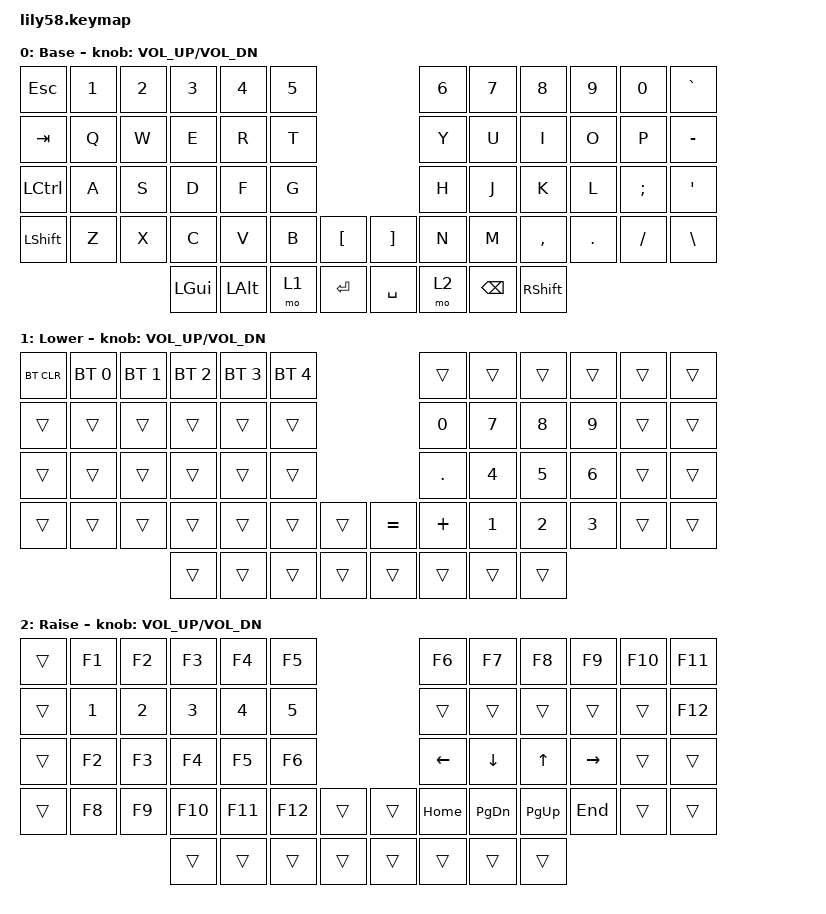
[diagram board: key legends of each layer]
/*
 * Copyright (c) 2020 The ZMK Contributors
 *
 * SPDX-License-Identifier: MIT
 */

#include <behaviors.dtsi>
#include <dt-bindings/zmk/keys.h>
#include <dt-bindings/zmk/bt.h>
#include <dt-bindings/zmk/ext_power.h>

/ {
    keymap {
        compatible = "zmk,keymap";

        default_layer {
// ------------------------------------------------------------------------------------------------------------
// |  ESC  |  1  |  2  |  3   |  4   |  5   |                   |  6   |  7    |  8    |  9   |   0   |   `   |
// |  TAB  |  Q  |  W  |  E   |  R   |  T   |                   |  Y   |  U    |  I    |  O   |   P   |   -   |
// |  CTRL |  A  |  S  |  D   |  F   |  G   |                   |  H   |  J    |  K    |  L   |   ;   |   '   |
// | SHIFT |  Z  |  X  |  C   |  V   |  B   |   "["  |  |  "]"  |  N   |  M    |  ,    |  .   |   /   |   \   |
//                     | GUI  | ALT  | LOWER|  SPACE |  | ENTER | RAISE| BSPC  | RSHFT |
            display-name = "Base";
            bindings = <
&kp ESC   &kp N1 &kp N2 &kp N3   &kp N4   &kp N5                     &kp N6 &kp N7   &kp N8    &kp N9  &kp N0   &kp GRAVE
&kp TAB   &kp Q  &kp W  &kp E    &kp R    &kp T                      &kp Y  &kp U    &kp I     &kp O   &kp P    &kp MINUS
&kp LCTRL &kp A  &kp S  &kp D    &kp F    &kp G                      &kp H  &kp J    &kp K     &kp L   &kp SEMI &kp SQT
&kp LSHFT &kp Z  &kp X  &kp C    &kp V    &kp B  &kp LBKT  &kp RBKT  &kp N  &kp M    &kp COMMA &kp DOT &kp FSLH &kp BSLH
                        &kp LGUI &kp LALT &mo 1  &kp RET   &kp SPACE &mo 2  &kp BSPC &kp RSHFT
            >;

            sensor-bindings = <&inc_dec_kp C_VOL_UP C_VOL_DN>;
        };

        lower_layer {
// ------------------------------------------------------------------------------------------------------------
// | BTCLR | BT1 | BT2 |  BT3 |  BT4 |  BT5 |                   |      |       |       |      |       |       |
// |  F1   |  F2 |  F3 |  F4  |  F5  |  F6  |                   |  F7  |  F8   |  F9   |  F10 |  F11  |  F12  |
// |   `   |  !  |  @  |  #   |  $   |  %   |                   |  ^   |  &    |  *    |  (   |   )   |   ~   |
// |       |     |     |      |      |      |        |  |       |      |  _    |  +    |  {   |   }   |  "|"  |
//                     |      |      |      |        |  |       |      |       |       |
            display-name = "Lower";
            bindings = <
&bt BT_CLR  &bt BT_SEL 0  &bt BT_SEL 1  &bt BT_SEL 2  &bt BT_SEL 3  &bt BT_SEL 4                     &trans    &trans    &trans    &trans  &trans  &trans
&trans      &trans        &trans        &trans        &trans        &trans                           &kp N0    &kp N7     &kp N8     &kp N9   &trans  &trans
&trans      &trans        &trans        &trans        &trans        &trans                           &kp DOT   &kp N4     &kp N5     &kp N6   &trans  &trans
&trans      &trans        &trans        &trans        &trans        &trans       &trans   &kp EQUAL  &kp PLUS  &kp N1     &kp N2     &kp N3   &trans  &trans
                                        &trans        &trans        &trans       &trans   &trans     &trans    &trans    &trans
            >;

            sensor-bindings = <&inc_dec_kp C_VOL_UP C_VOL_DN>;
        };

        raise_layer {
// ------------------------------------------------------------------------------------------------------------
// |       |     |     |      |      |      |                   |      |       |       |      |       |       |
// |   `   |  1  |  2  |  3   |  4   |  5   |                   |  6   |   7   |   8   |  9   |   0   |       |
// |   F1  |  F2 |  F3 |  F4  |  F5  |  F6  |                   |      |   <-  |   v   |  ^   |  ->   |       |
// |   F7  |  F8 |  F9 |  F10 |  F11 |  F12 |        |  |       |  +   |   -   |   =   |  [   |   ]   |   \   |
//                     |      |      |      |        |  |       |      |       |       |
            display-name = "Raise";
            bindings = < 
&trans  &kp F1 &kp F2 &kp F3  &kp F4  &kp F5                       &kp F6      &kp F7    &kp F8    &kp F9    &kp F10   &kp F11
&trans  &kp N1 &kp N2 &kp N3  &kp N4  &kp N5                       &trans      &trans    &trans    &trans    &trans    &kp F12
&trans  &kp F2 &kp F3 &kp F4  &kp F5  &kp F6                       &kp LEFT    &kp DOWN  &kp UP    &kp RIGHT &trans    &trans
&trans  &kp F8 &kp F9 &kp F10 &kp F11 &kp F12   &trans   &trans    &kp HOME    &kp PG_DN &kp PG_UP &kp END   &trans    &trans
                        &trans  &trans  &trans    &trans   &trans    &trans      &trans    &trans
            >;

            sensor-bindings = <&inc_dec_kp C_VOL_UP C_VOL_DN>;
        };
    };
};
